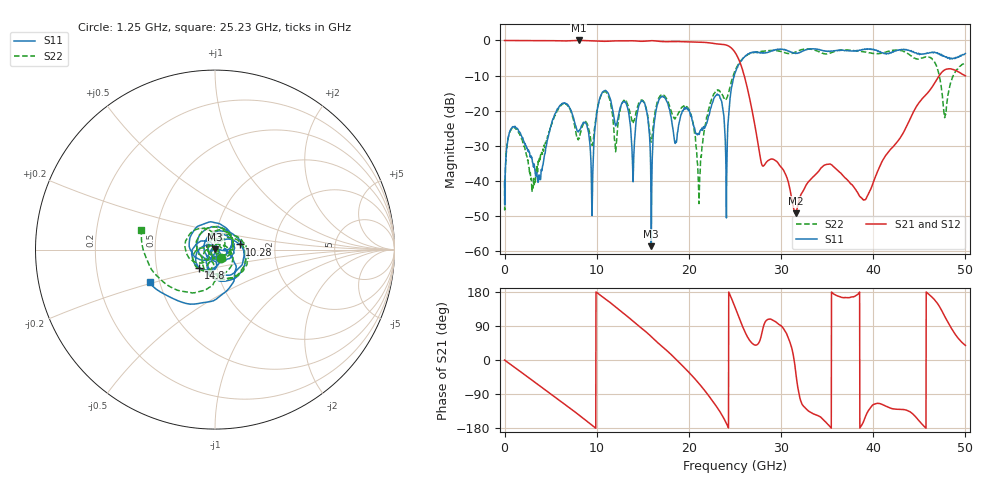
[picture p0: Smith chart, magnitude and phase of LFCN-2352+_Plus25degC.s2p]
! Source: https://github.com/scikit-rf/scikit-rf/blob/950534a5928d5c99e3fea2beaec7d82519800b0c/skrf/tests/LFCN-2352+_Plus25degC.s2p
! License: BSD-3-Clause
! Mini-Circuits
! S2P DATA File Format
! Type: LOW PASS FILTER
! Model: LFCN-2352+
! All S Parameters are in dB deg format
! TEST CONDITIONS: INPUT POWER = 0 dBm - +25 deg C
# MHZ S DB R 50
!Frequency  S11 dB  S11 DEG  S21 dB  S21 DEG  S12 dB  S12 DEG  S22 dB  S22 DEG
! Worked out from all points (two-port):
!   2006 points, 10 MHz to 50 GHz, reference 50 ohm
!   highest |S21| = -0.01 dB at 8.075 GHz (marker M1); lowest = -49.1 dB at 31.57 GHz (marker M2)
!   |S21| within 3 dB of the highest: start of sweep to 24.9 GHz
!   lowest |S11| = -58.5 dB at 15.93 GHz (marker M3), VSWR 1.00, Z = 50.1 + j0.0787 ohm
!   |S11| at or under -10 dB: start of sweep to 24.93 GHz
!   |S22| runs from -48.2 to -2.4 dB; largest |S21 - S12| = 0.0027
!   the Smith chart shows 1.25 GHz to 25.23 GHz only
!   S11 on the Smith chart (normalised r, x): 1.25 GHz: 1.06, -0.10; 10.28 GHz: 1.32, +0.08; 14.8 GHz: 0.82, -0.17; 25.23 GHz: 0.44, -0.19
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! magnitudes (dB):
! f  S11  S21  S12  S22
! 10 MHz  -40.1  0.0  0.0  -40.3
! 1.25 GHz  -24.9  0.0  0.0  -25.2
! 3.1 GHz  -35.3  -0.1  -0.1  -42.0
! 6.1 GHz  -18.4  -0.1  -0.1  -18.5
! 8.075 GHz  -25.6  0.0  0.0  -27.7
! 8.35 GHz  -24.3  0.0  0.0  -25.3
! 9.5 GHz  -49.8  -0.1  -0.1  -29.8
! 10.28 GHz  -17.0  -0.2  -0.2  -17.1
! 13.95 GHz  -40.2  -0.1  -0.1  -23.6
! 14.8 GHz  -17.4  -0.2  -0.3  -17.0
! 15.93 GHz  -58.5  -0.1  -0.1  -28.8
! 16.68 GHz  -17.5  -0.2  -0.2  -16.8
! 21.12 GHz  -26.6  -0.5  -0.5  -43.9
! 23.12 GHz  -15.5  -1.0  -1.0  -14.3
! 24.07 GHz  -50.5  -1.3  -1.3  -16.6
! 25.02 GHz  -9.2  -3.5  -3.5  -8.5
! 25.23 GHz  -7.8  -4.4  -4.4  -7.4
! 31.57 GHz  -3.7  -49.1  -49.1  -3.3
! 33.35 GHz  -2.4  -39.1  -39.1  -2.6
! 41.67 GHz  -3.7  -31.6  -31.6  -3.1
! 47.8 GHz  -4.6  -8.3  -8.3  -21.2
! 50 GHz  -3.7  -10.1  -10.1  -6.3
